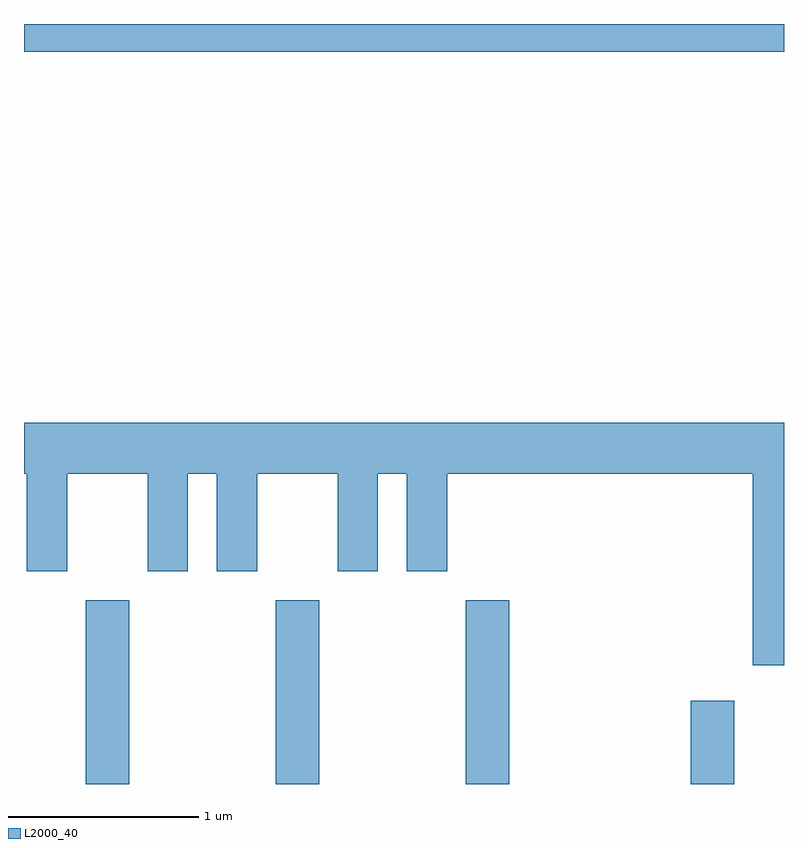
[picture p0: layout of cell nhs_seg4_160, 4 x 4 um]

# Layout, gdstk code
import gdstk
lib = gdstk.Library(unit=1e-6, precision=1e-09)
def R(c, l, rs):  # rectangles x0, y0, x1, y1
    for r in rs: c.add(gdstk.rectangle(r[:2], r[2:], *l))
def A(c, l, x, y, w, h, nx, ny, dx, dy):  # array of equal rectangles
    R(c, l, [(x+i*dx, y+j*dy, x+i*dx+w, y+j*dy+h) for i in range(nx) for j in range(ny)])
def P(c, l, *ps):  # polygons
    for p in ps: c.add(gdstk.Polygon(p, *l))
L2000_40 = (2000, 40)

nhs_seg4_160 = lib.new_cell('nhs_seg4_160')
A(nhs_seg4_160, L2000_40, 189.936, 1301.982, 0.228, 0.967, 3, 1, 1, 0)
R(nhs_seg4_160, L2000_40, [(193.121,1301.982,193.349,1302.419), (189.611,1305.836,193.611,1305.982)])
P(nhs_seg4_160, L2000_40, [(193.611,1303.884),(189.611,1303.884),(189.611,1303.616),(189.626,1303.616),(189.626,1303.101),(189.839,1303.101),(189.839,1303.616),(190.261,1303.616),(190.261,1303.101),(190.474,1303.101),(190.474,1303.616),(190.626,1303.616),(190.626,1303.101),(190.839,1303.101),(190.839,1303.616),(191.261,1303.616),(191.261,1303.101),(191.474,1303.101),(191.474,1303.616),(191.626,1303.616),(191.626,1303.101),(191.839,1303.101),(191.839,1303.616),(193.446,1303.616),(193.446,1302.606),(193.611,1302.606)])

lib.write_gds('nhs_seg4_160.gds')
